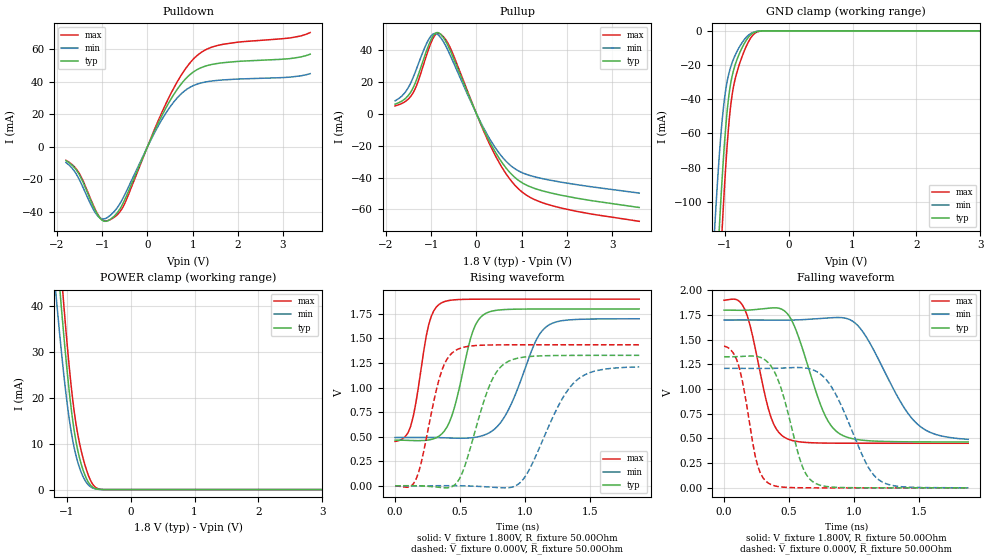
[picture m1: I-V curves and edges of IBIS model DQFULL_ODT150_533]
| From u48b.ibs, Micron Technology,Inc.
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|MODEL DQFULL_ODT150_533(Full-Drv IO Drvr with 150 ohm ODT Sub-model,400/533)
[Model]   DQFULL_ODT150_533
Model_type   I/O
Vinl = 650.000mV
Vinh = 1.150V
Vmeas = 900.000mV
Vref = 900.000mV
Cref = 0.0pF
Rref = 25.000Ohm
|   typ   min   max
C_comp   3.09pF   2.91pF   3.33pF
| Note: C_comp decreases when the ODT circuit is enabled.
[Model Spec]
| Input threshold voltage corners
Vinl   0.650V   0.600V   0.700V
Vinh   1.150V   1.100V   1.200V
| Measurement voltage corners
Vmeas   0.900V   0.850V   0.950V
| Timing spec test load voltage corners
Vref   0.900V   0.850V   0.950V
[Receiver Thresholds]
Vth   =  0.900V
Vth_min  =  0.882V
Vth_max  =  0.918V
Vinh_ac  =  0.250V
Vinh_dc  =  0.125V
Vinl_ac  = -0.250V
Vinl_dc  = -0.125V
Tslew_ac =  5.000ns |Not specified, so set to high value
Threshold_sensitivity = 0.50
Reference_supply Pullup_ref
[Voltage Range]   1.800V   1.700V   1.900V
[Pullup Reference]   1.800V   1.700V   1.900V
| Junction Temperature (Ambient temp is 25C typ, 85C min, 0C max)
[Temperature Range]   40.0   100.0   0.0
[Add Submodel]
| Submodel Name   Mode
150ohm_ODT_533   Non-Driving
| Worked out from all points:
|   slope of the pulldown table from 0 to 0.27 V, typ, clamps not added: 16.5 ohm
|   slope of the pullup table from 0 to 0.27 V, typ, clamps not added: 16.5 ohm
|   GND clamp passes 1 mA (typ) near -0.54 V on its own axis
|   POWER clamp passes 1 mA (typ) near -0.63 V on its own axis
|   falling waveform, V_fixture 1.800V, R_fixture 50.00Ohm: 20-80 % time 206ps typ, 302ps min, 148ps max; typ from 1.8 V to 0.465 V
|   rising waveform, V_fixture 1.800V, R_fixture 50.00Ohm: 20-80 % time 147ps typ, 222ps min, 109ps max; typ from 0.465 V to 1.8 V
|   rising waveform, V_fixture 0.000V, R_fixture 50.00Ohm: 20-80 % time 189ps typ, 265ps min, 144ps max; typ from 0 V to 1.33 V
|   falling waveform, V_fixture 0.000V, R_fixture 50.00Ohm: 20-80 % time 165ps typ, 246ps min, 117ps max; typ from 1.33 V to 0 V
[Pulldown]
|   Voltage   I(typ)   I(min)   I(max)
-1.8V     -8.449mA   -9.646mA   -8.258mA
-1.495V   -17.62mA   -20.71mA   -16.84mA
-1.105V   -41.45mA   -42.22mA   -41.05mA
-965mV    -45.61mA   -44.26mA   -45.36mA
-805mV    -44.16mA   -41.64mA   -44.41mA
-615mV    -38.41mA   -35.19mA   -40.06mA
-495mV    -32.07mA   -29mA      -34.29mA
405mV     23.69mA    20.61mA    26.28mA
715mV     37.49mA    31.71mA    42.56mA
1.045V    46.54mA    37.99mA    54.71mA
1.59V     51.39mA    40.94mA    62.52mA
3.6V      56.92mA    44.96mA    70.2mA
[GND Clamp]
|   Voltage   I(typ)   I(min)   I(max)
-1.8V     -732.2mA   -643.1mA   -793.5mA
-1.155V   -167.5mA   -114.8mA   -205.7mA
-1.085V   -116.2mA   -73.6mA    -149.7mA
-1.075V   -109.3mA   -68.53mA   -142.1mA
-1.035V   -83.8mA    -50.82mA   -112.9mA
-965mV    -48.54mA   -30.43mA   -69.18mA
-925mV    -35.4mA    -23.65mA   -50.63mA
-885mV    -26.82mA   -18.82mA   -37.89mA
-775mV    -13.78mA   -9.793mA   -20.19mA
-595mV    -2.414mA   -1.638mA   -4.342mA
-385mV    -23.94uA   -28.43uA   -37uA
3.6V      0A         0A         0A
[Pullup]
|   Voltage   I(typ)   I(min)   I(max)
-1.8V     5.95mA     8.081mA    4.87mA
-1.575V   9.48mA     13.46mA    7.642mA
-1.405V   15.99mA    22.38mA    12.88mA
-1.035V   44.49mA    47.55mA    42.2mA
-915mV    50.29mA    50.26mA    49.26mA
-805mV    50.11mA    48.17mA    50.09mA
-575mV    39.23mA    36.31mA    41.07mA
265mV     -16.09mA   -14.39mA   -17.48mA
575mV     -30.97mA   -27.27mA   -34.12mA
900mV     -41.1mA    -35.36mA   -46.27mA
1.64V     -49.62mA   -41.69mA   -57.36mA
3.6V      -58.76mA   -49.73mA   -67.41mA
[POWER Clamp]
|   Voltage   I(typ)   I(min)   I(max)
-1.8V     174.6mA    152.1mA    190.2mA
-1.165V   53.73mA    42.23mA    61.99mA
-1.095V   41.77mA    31.89mA    49.12mA
-1.055V   35.28mA    26.43mA    42.08mA
-995mV    26.23mA    19.12mA    32.14mA
-945mV    19.6mA     14.04mA    24.74mA
-855mV    10.61mA    7.5mA      14.47mA
-735mV    3.952mA    2.604mA    6.423mA
-605mV    663.1uA    441.3uA    1.455mA
-535mV    154.4uA    123.3uA    363.4uA
-395mV    3.964uA    6.066uA    6.524uA
3.6V      0A         0A         0A
[Ramp]
R_load = 50.00Ohm
|   typ   min   max
dV/dt_r   796.736mV/188.415ps 726.165mV/264.679ps 861.308mV/144.003ps
dV/dt_f   801.034mV/206.175ps 725.169mV/302.113ps 869.043mV/148.289ps
[Falling Waveform]
V_fixture = 1.800V
V_fixture_min = 1.700V
V_fixture_max = 1.900V
R_fixture = 50.00Ohm
|   Time   V(typ)   V(min)   V(max)
0s        1.8V       1.7V       1.9V
160ps     1.799V     1.7V       1.806V
350ps     1.82V      1.699V     762.1mV
460ps     1.797V     1.699V     516mV
560ps     1.577V     1.701V     469.9mV
770ps     755.4mV    1.718V     453.6mV
880ps     556.7mV    1.725V     452.3mV
1.06ns    483.3mV    1.596V     451.7mV
1.49ns    465.8mV    644.2mV    451.6mV
1.88ns    464.9mV    491.4mV    451.6mV
[Rising Waveform]
V_fixture = 1.800V
V_fixture_min = 1.700V
V_fixture_max = 1.900V
R_fixture = 50.00Ohm
|   Time   V(typ)   V(min)   V(max)
0s        464.9mV    491.4mV    451.6mV
120ps     461.3mV    491.5mV    605.9mV
260ps     467.1mV    491.8mV    1.645V
360ps     528.5mV    489.6mV    1.864V
450ps     765.7mV    485.4mV    1.892V
600ps     1.576V     490.5mV    1.899V
680ps     1.74V      513.4mV    1.9V
850ps     1.794V     717.6mV    1.9V
1.17ns    1.8V       1.624V     1.9V
1.88ns    1.8V       1.7V       1.9V
[Rising Waveform]
V_fixture = 0.000V
V_fixture_min = 0.000V
V_fixture_max = 0.000V
R_fixture = 50.00Ohm
|   Time   V(typ)   V(min)   V(max)
0s        -1.387uV   -1.338uV   -1.559uV
160ps     411.6uV    -48.87uV   61.93mV
340ps     -15.23mV   930.1uV    1.089V
460ps     9.76mV     906.3uV    1.373V
530ps     175.2mV    -338.6uV   1.411V
730ps     1.029V     -12.72mV   1.433V
850ps     1.25V      -20.92mV   1.435V
1.01ns    1.313V     110.1mV    1.435V
1.39ns    1.327V     1.064V     1.436V
1.88ns    1.328V     1.21V      1.436V
[Falling Waveform]
V_fixture = 0.000V
V_fixture_min = 0.000V
V_fixture_max = 0.000V
R_fixture = 50.00Ohm
|   Time   V(typ)   V(min)   V(max)
0s        1.328V     1.21V      1.436V
100ps     1.329V     1.21V      1.287V
250ps     1.331V     1.21V      269.2mV
340ps     1.268V     1.21V      48.46mV
440ps     1.003V     1.213V     8.985mV
600ps     226.8mV    1.217V     923.5uV
700ps     48.2mV     1.186V     288.3uV
840ps     7.275mV    994.5mV    75.19uV
1.19ns    304.3uV    83.03mV    8.223uV
1.88ns    -1.387uV   -1.338uV   -1.559uV
